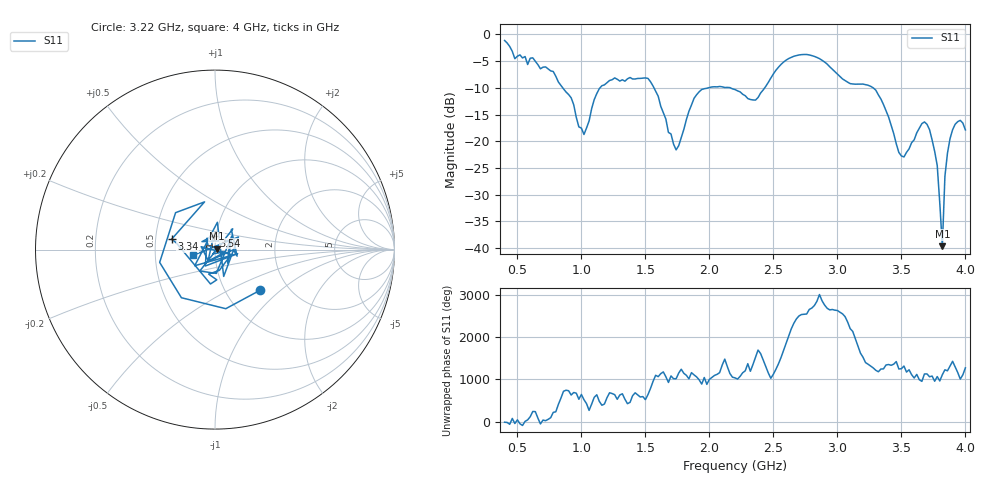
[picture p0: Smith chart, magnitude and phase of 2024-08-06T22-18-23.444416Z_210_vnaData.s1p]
!Created with skrf (http://scikit-rf.org).
# Hz S RI R 50.0
!freq ReS11 ImS11
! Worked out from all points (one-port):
!   181 points, 400 MHz to 4 GHz, reference 50 ohm
!   lowest |S11| = -39.6 dB at 3.82 GHz (marker M1), VSWR 1.02, Z = 50.9 + j0.563 ohm
!   |S11| at or under -10 dB: 854.4 MHz to 1.145 GHz (290.5 MHz wide, 29.1 % of centre); 1.567 GHz to 1.99 GHz (422.6 MHz wide, 23.8 % of centre); 3.28 GHz to end of sweep (the widest 3 of 4)
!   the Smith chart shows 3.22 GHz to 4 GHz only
!   S11 on the Smith chart (normalised r, x): 3.22 GHz: 1.45, -0.74; 3.34 GHz: 0.61, +0.07; 3.54 GHz: 0.97, +0.15; 4 GHz: 0.78, -0.05
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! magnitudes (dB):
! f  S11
! 400 MHz  -1.1
! 480 MHz  -4.5
! 620 MHz  -4.4
! 860 MHz  -10.2
! 1.02 GHz  -18.7
! 1.14 GHz  -10.1
! 1.3 GHz  -8.7
! 1.52 GHz  -8.2
! 1.76 GHz  -20.8
! 1.92 GHz  -10.7
! 2.2 GHz  -10.3
! 2.36 GHz  -12.3
! 2.66 GHz  -4.1
! 2.86 GHz  -4.5
! 3.1 GHz  -9.2
! 3.22 GHz  -9.4
! 3.34 GHz  -12.1
! 3.48 GHz  -22.1
! 3.54 GHz  -22.1
! 3.56 GHz  -21.4
! 3.66 GHz  -16.7
! 3.72 GHz  -17.8
! 3.78 GHz  -24.5
! 3.82 GHz  -39.6
! 3.84 GHz  -26.6
! 3.88 GHz  -19.5
! 3.94 GHz  -16.3
! 4 GHz  -17.9
